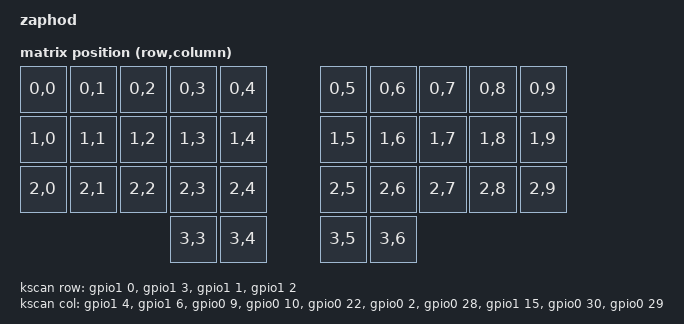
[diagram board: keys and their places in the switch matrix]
/*
 * Copyright (c) 2020 Pete Johanson
 *
 * SPDX-License-Identifier: MIT
 */

/dts-v1/;
#include <nordic/nrf52840_qiaa.dtsi>
#include <dt-bindings/zmk/matrix_transform.h>

&pinctrl {
    spi0_default: spi0_default {
        group1 {
            psels = <NRF_PSEL(SPIM_SCK, 0, 7)>
                  , <NRF_PSEL(SPIM_MOSI, 0, 5)>
                  , <NRF_PSEL(SPIM_MISO, 0, 8)>
	          ;
        };
    };

    spi0_sleep: spi0_sleep {
        group1 {
            psels = <NRF_PSEL(SPIM_SCK, 0, 7)>
                  , <NRF_PSEL(SPIM_MOSI, 0, 5)>
                  , <NRF_PSEL(SPIM_MISO, 0, 8)>
	          ;
            low-power-enable;
        };
    };
};

/ {
	model = "zaphod";
	compatible = "petejohanson,zaphod";

	chosen {
		zephyr,code-partition = &code_partition;
		zephyr,sram = &sram0;
		zephyr,flash = &flash0;
		zephyr,display = &ls0xx;
		zmk,kscan = &kscan;
		zmk,matrix_transform = &transform;
		zmk,battery = &vbatt;
		zephyr,console = &cdc_acm_uart;
	};

	leds {
		compatible = "gpio-leds";
		blue_led: led_0 {
			gpios = <&gpio1 9 GPIO_ACTIVE_HIGH>;
		};
	};

	vbatt: vbatt {
		compatible = "zmk,battery-voltage-divider";
		io-channels = <&adc 7>;
		output-ohms = <2000000>;
		full-ohms = <(2000000 + 806000)>;
	};

	transform: transform {
		compatible = "zmk,matrix-transform";
		rows = <4>;
		columns = <10>;

		map = <
	RC(0,0) RC(0,1) RC(0,2) RC(0,3) RC(0,4) 	RC(0,5) RC(0,6) RC(0,7) RC(0,8) RC(0,9)
	RC(1,0) RC(1,1) RC(1,2) RC(1,3) RC(1,4) 	RC(1,5) RC(1,6) RC(1,7) RC(1,8) RC(1,9)
	RC(2,0) RC(2,1) RC(2,2) RC(2,3) RC(2,4) 	RC(2,5) RC(2,6) RC(2,7) RC(2,8) RC(2,9)
	                       RC(3,3)  RC(3,4) 	RC(3,5) RC(3,6)
	>;
	};
	
	kscan: kscan {
		compatible = "zmk,kscan-gpio-matrix";
		wakeup-source;

		debounce-press-ms = <1>;
		debounce-release-ms = <5>;

		diode-direction = "col2row";

		col-gpios
			= <&gpio1 4 (GPIO_ACTIVE_HIGH)>
			, <&gpio1 6 (GPIO_ACTIVE_HIGH)>
			, <&gpio0 9 (GPIO_ACTIVE_HIGH)>
			, <&gpio0 10 (GPIO_ACTIVE_HIGH)>
			, <&gpio0 22 (GPIO_ACTIVE_HIGH)>
			, <&gpio0 2 (GPIO_ACTIVE_HIGH)>
			, <&gpio0 28 (GPIO_ACTIVE_HIGH)>
			, <&gpio1 15 (GPIO_ACTIVE_HIGH)>
			, <&gpio0 30 (GPIO_ACTIVE_HIGH)>
			, <&gpio0 29 (GPIO_ACTIVE_HIGH)>
			;
		row-gpios
			= <&gpio1 0  (GPIO_ACTIVE_HIGH | GPIO_PULL_DOWN)>
			, <&gpio1 3  (GPIO_ACTIVE_HIGH | GPIO_PULL_DOWN)>
			, <&gpio1 1 (GPIO_ACTIVE_HIGH | GPIO_PULL_DOWN)>
			, <&gpio1 2 (GPIO_ACTIVE_HIGH | GPIO_PULL_DOWN)>
			;
	};
};

&adc {
	status = "okay";
};

&gpiote {
	status = "okay";
};

&gpio0 {
	status = "okay";
};

&gpio1 {
	status = "okay";
};

&spi0 {
	compatible = "nordic,nrf-spim";
	status = "okay";

	pinctrl-0 = <&spi0_default>;
	pinctrl-1 = <&spi0_default>;
	pinctrl-names = "default", "sleep";

	cs-gpios = <&gpio0 4 GPIO_ACTIVE_HIGH>;

	ls0xx: ls0xx@0 {
		compatible = "sharp,ls0xx";
		spi-max-frequency = <2000000>;
		reg = <0>;
		width = <144>;
		height = <168>;
		// disp-en-gpios = <&gpio0 23 GPIO_ACTIVE_HIGH>;
	};
};

&usbd {
	status = "okay";
	compatible = "nordic,nrf-usbd";
	cdc_acm_uart: cdc_acm_uart {
		compatible = "zephyr,cdc-acm-uart";
	};
};


&flash0 {
	/*
	 * For more information, see:
	 * http://docs.zephyrproject.org/latest/devices/dts/flash_partitions.html
	 */
	partitions {
		compatible = "fixed-partitions";
		#address-cells = <1>;
		#size-cells = <1>;

		sd_partition: partition@0 {
			reg = <0x00000000 0x00001000>;
		};
		code_partition: partition@1000 {
			reg = <0x00001000 0x000d3000>;
		};

		storage_partition: partition@d4000 {
			reg = <0x000d4000 0x00020000>;
		};

		boot_partition: partition@f4000 {
			reg = <0x000f4000 0x0000c000>;
		};
	};
};
